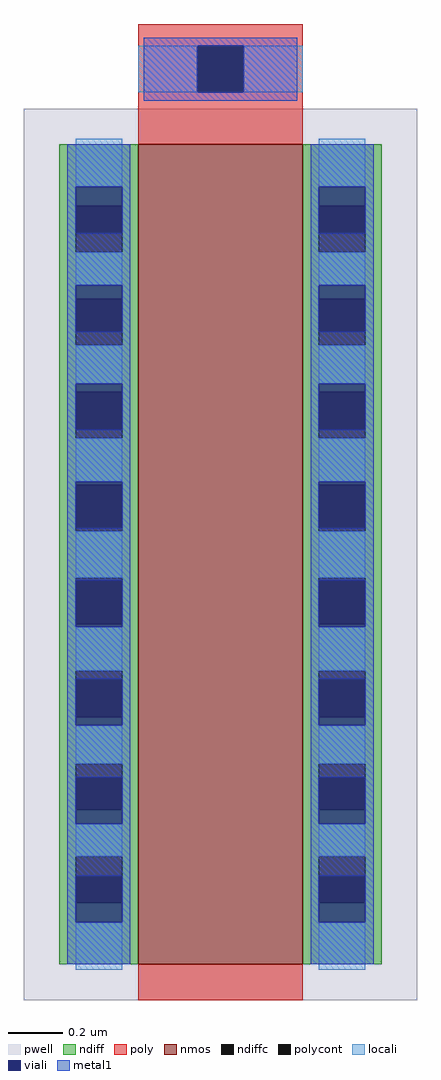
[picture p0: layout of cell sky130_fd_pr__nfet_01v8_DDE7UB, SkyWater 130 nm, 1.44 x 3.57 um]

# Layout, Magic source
magic
tech sky130A
magscale 1 2
<< pwell >>
rect -144 -357 144 295
<< nmos >>
rect -60 -331 60 269
<< ndiff >>
rect -118 224 -60 269
rect -118 190 -106 224
rect -72 190 -60 224
rect -118 156 -60 190
rect -118 122 -106 156
rect -72 122 -60 156
rect -118 88 -60 122
rect -118 54 -106 88
rect -72 54 -60 88
rect -118 20 -60 54
rect -118 -14 -106 20
rect -72 -14 -60 20
rect -118 -48 -60 -14
rect -118 -82 -106 -48
rect -72 -82 -60 -48
rect -118 -116 -60 -82
rect -118 -150 -106 -116
rect -72 -150 -60 -116
rect -118 -184 -60 -150
rect -118 -218 -106 -184
rect -72 -218 -60 -184
rect -118 -252 -60 -218
rect -118 -286 -106 -252
rect -72 -286 -60 -252
rect -118 -331 -60 -286
rect 60 224 118 269
rect 60 190 72 224
rect 106 190 118 224
rect 60 156 118 190
rect 60 122 72 156
rect 106 122 118 156
rect 60 88 118 122
rect 60 54 72 88
rect 106 54 118 88
rect 60 20 118 54
rect 60 -14 72 20
rect 106 -14 118 20
rect 60 -48 118 -14
rect 60 -82 72 -48
rect 106 -82 118 -48
rect 60 -116 118 -82
rect 60 -150 72 -116
rect 106 -150 118 -116
rect 60 -184 118 -150
rect 60 -218 72 -184
rect 106 -218 118 -184
rect 60 -252 118 -218
rect 60 -286 72 -252
rect 106 -286 118 -252
rect 60 -331 118 -286
<< ndiffc >>
rect -106 190 -72 224
rect -106 122 -72 156
rect -106 54 -72 88
rect -106 -14 -72 20
rect -106 -82 -72 -48
rect -106 -150 -72 -116
rect -106 -218 -72 -184
rect -106 -286 -72 -252
rect 72 190 106 224
rect 72 122 106 156
rect 72 54 106 88
rect 72 -14 106 20
rect 72 -82 106 -48
rect 72 -150 106 -116
rect 72 -218 106 -184
rect 72 -286 106 -252
<< poly >>
rect -60 341 60 357
rect -60 307 -17 341
rect 17 307 60 341
rect -60 269 60 307
rect -60 -357 60 -331
<< polycont >>
rect -17 307 17 341
<< locali >>
rect -60 307 -17 341
rect 17 307 60 341
rect -106 238 -72 273
rect -106 166 -72 190
rect -106 94 -72 122
rect -106 22 -72 54
rect -106 -48 -72 -14
rect -106 -116 -72 -84
rect -106 -184 -72 -156
rect -106 -252 -72 -228
rect -106 -335 -72 -300
rect 72 238 106 273
rect 72 166 106 190
rect 72 94 106 122
rect 72 22 106 54
rect 72 -48 106 -14
rect 72 -116 106 -84
rect 72 -184 106 -156
rect 72 -252 106 -228
rect 72 -335 106 -300
<< viali >>
rect -17 307 17 341
rect -106 224 -72 238
rect -106 204 -72 224
rect -106 156 -72 166
rect -106 132 -72 156
rect -106 88 -72 94
rect -106 60 -72 88
rect -106 20 -72 22
rect -106 -12 -72 20
rect -106 -82 -72 -50
rect -106 -84 -72 -82
rect -106 -150 -72 -122
rect -106 -156 -72 -150
rect -106 -218 -72 -194
rect -106 -228 -72 -218
rect -106 -286 -72 -266
rect -106 -300 -72 -286
rect 72 224 106 238
rect 72 204 106 224
rect 72 156 106 166
rect 72 132 106 156
rect 72 88 106 94
rect 72 60 106 88
rect 72 20 106 22
rect 72 -12 106 20
rect 72 -82 106 -50
rect 72 -84 106 -82
rect 72 -150 106 -122
rect 72 -156 106 -150
rect 72 -218 106 -194
rect 72 -228 106 -218
rect 72 -286 106 -266
rect 72 -300 106 -286
<< metal1 >>
rect -56 341 56 347
rect -56 307 -17 341
rect 17 307 56 341
rect -56 301 56 307
rect -112 238 -66 269
rect -112 204 -106 238
rect -72 204 -66 238
rect -112 166 -66 204
rect -112 132 -106 166
rect -72 132 -66 166
rect -112 94 -66 132
rect -112 60 -106 94
rect -72 60 -66 94
rect -112 22 -66 60
rect -112 -12 -106 22
rect -72 -12 -66 22
rect -112 -50 -66 -12
rect -112 -84 -106 -50
rect -72 -84 -66 -50
rect -112 -122 -66 -84
rect -112 -156 -106 -122
rect -72 -156 -66 -122
rect -112 -194 -66 -156
rect -112 -228 -106 -194
rect -72 -228 -66 -194
rect -112 -266 -66 -228
rect -112 -300 -106 -266
rect -72 -300 -66 -266
rect -112 -331 -66 -300
rect 66 238 112 269
rect 66 204 72 238
rect 106 204 112 238
rect 66 166 112 204
rect 66 132 72 166
rect 106 132 112 166
rect 66 94 112 132
rect 66 60 72 94
rect 106 60 112 94
rect 66 22 112 60
rect 66 -12 72 22
rect 106 -12 112 22
rect 66 -50 112 -12
rect 66 -84 72 -50
rect 106 -84 112 -50
rect 66 -122 112 -84
rect 66 -156 72 -122
rect 106 -156 112 -122
rect 66 -194 112 -156
rect 66 -228 72 -194
rect 106 -228 112 -194
rect 66 -266 112 -228
rect 66 -300 72 -266
rect 106 -300 112 -266
rect 66 -331 112 -300
<< end >>
